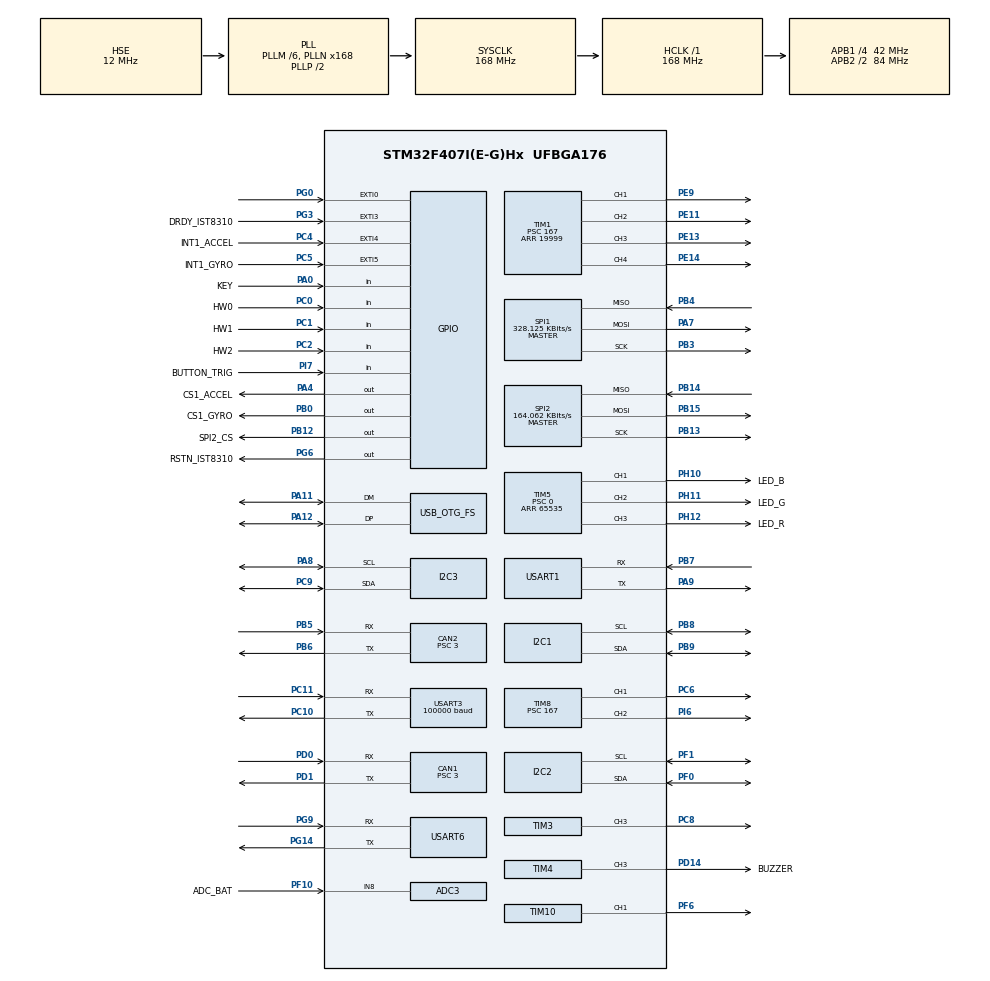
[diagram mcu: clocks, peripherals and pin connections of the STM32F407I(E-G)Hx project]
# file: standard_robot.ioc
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ADC1.Channel-0\#ChannelRegularConversion=ADC_CHANNEL_TEMPSENSOR
ADC1.ClockPrescaler=ADC_CLOCK_SYNC_PCLK_DIV6
ADC1.NbrOfConversionFlag=1
ADC1.Rank-0\#ChannelRegularConversion=1
ADC1.SamplingTime-0\#ChannelRegularConversion=ADC_SAMPLETIME_3CYCLES
ADC1.master=1
ADC3.Channel-0\#ChannelRegularConversion=ADC_CHANNEL_8
ADC3.ClockPrescaler=ADC_CLOCK_SYNC_PCLK_DIV6
ADC3.NbrOfConversionFlag=1
ADC3.Rank-0\#ChannelRegularConversion=1
ADC3.SamplingTime-0\#ChannelRegularConversion=ADC_SAMPLETIME_3CYCLES
CAN1.BS1=CAN_BS1_10TQ
CAN1.BS2=CAN_BS2_3TQ
CAN1.CalculateBaudRate=1000000
CAN1.CalculateTimeQuantum=71.42857142857143
CAN1.Prescaler=3
CAN2.BS1=CAN_BS1_10TQ
CAN2.BS2=CAN_BS2_3TQ
CAN2.CalculateBaudRate=1000000
CAN2.CalculateTimeQuantum=71.42857142857143
CAN2.Prescaler=3
Dma.I2C2_TX.2.Direction=DMA_MEMORY_TO_PERIPH
Dma.I2C2_TX.2.FIFOMode=DMA_FIFOMODE_DISABLE
Dma.I2C2_TX.2.Instance=DMA1_Stream7
Dma.I2C2_TX.2.MemDataAlignment=DMA_MDATAALIGN_BYTE
Dma.I2C2_TX.2.MemInc=DMA_MINC_ENABLE
Dma.I2C2_TX.2.Mode=DMA_NORMAL
Dma.I2C2_TX.2.PeriphDataAlignment=DMA_PDATAALIGN_BYTE
Dma.I2C2_TX.2.PeriphInc=DMA_PINC_DISABLE
Dma.I2C2_TX.2.Priority=DMA_PRIORITY_HIGH
Dma.Request0=SPI1_RX
Dma.Request1=SPI1_TX
Dma.Request2=I2C2_TX
Dma.Request3=USART3_RX
Dma.Request4=USART6_RX
Dma.Request5=USART6_TX
Dma.Request6=USART1_TX
Dma.SPI1_RX.0.Direction=DMA_PERIPH_TO_MEMORY
Dma.SPI1_RX.0.FIFOMode=DMA_FIFOMODE_DISABLE
Dma.SPI1_RX.0.Instance=DMA2_Stream2
Dma.SPI1_RX.0.MemDataAlignment=DMA_MDATAALIGN_BYTE
Dma.SPI1_RX.0.MemInc=DMA_MINC_ENABLE
Dma.SPI1_RX.0.Mode=DMA_NORMAL
Dma.SPI1_RX.0.PeriphDataAlignment=DMA_PDATAALIGN_BYTE
Dma.SPI1_RX.0.PeriphInc=DMA_PINC_DISABLE
Dma.SPI1_RX.0.Priority=DMA_PRIORITY_VERY_HIGH
Dma.SPI1_TX.1.Direction=DMA_MEMORY_TO_PERIPH
Dma.SPI1_TX.1.FIFOMode=DMA_FIFOMODE_DISABLE
Dma.SPI1_TX.1.Instance=DMA2_Stream3
Dma.SPI1_TX.1.MemDataAlignment=DMA_MDATAALIGN_BYTE
Dma.SPI1_TX.1.MemInc=DMA_MINC_ENABLE
Dma.SPI1_TX.1.Mode=DMA_NORMAL
Dma.SPI1_TX.1.PeriphDataAlignment=DMA_PDATAALIGN_BYTE
Dma.SPI1_TX.1.PeriphInc=DMA_PINC_DISABLE
Dma.SPI1_TX.1.Priority=DMA_PRIORITY_HIGH
Dma.USART1_TX.6.Direction=DMA_MEMORY_TO_PERIPH
Dma.USART1_TX.6.FIFOMode=DMA_FIFOMODE_DISABLE
Dma.USART1_TX.6.Instance=DMA2_Stream7
Dma.USART1_TX.6.MemDataAlignment=DMA_MDATAALIGN_BYTE
Dma.USART1_TX.6.MemInc=DMA_MINC_ENABLE
Dma.USART1_TX.6.Mode=DMA_NORMAL
Dma.USART1_TX.6.PeriphDataAlignment=DMA_PDATAALIGN_BYTE
Dma.USART1_TX.6.PeriphInc=DMA_PINC_DISABLE
Dma.USART1_TX.6.Priority=DMA_PRIORITY_MEDIUM
Dma.USART3_RX.3.Direction=DMA_PERIPH_TO_MEMORY
Dma.USART3_RX.3.FIFOMode=DMA_FIFOMODE_DISABLE
Dma.USART3_RX.3.Instance=DMA1_Stream1
Dma.USART3_RX.3.MemDataAlignment=DMA_MDATAALIGN_BYTE
Dma.USART3_RX.3.MemInc=DMA_MINC_ENABLE
Dma.USART3_RX.3.Mode=DMA_NORMAL
Dma.USART3_RX.3.PeriphDataAlignment=DMA_PDATAALIGN_BYTE
Dma.USART3_RX.3.PeriphInc=DMA_PINC_DISABLE
Dma.USART3_RX.3.Priority=DMA_PRIORITY_HIGH
Dma.USART6_RX.4.Direction=DMA_PERIPH_TO_MEMORY
Dma.USART6_RX.4.FIFOMode=DMA_FIFOMODE_DISABLE
Dma.USART6_RX.4.Instance=DMA2_Stream1
Dma.USART6_RX.4.MemDataAlignment=DMA_MDATAALIGN_BYTE
Dma.USART6_RX.4.MemInc=DMA_MINC_ENABLE
Dma.USART6_RX.4.Mode=DMA_NORMAL
Dma.USART6_RX.4.PeriphDataAlignment=DMA_PDATAALIGN_BYTE
Dma.USART6_RX.4.PeriphInc=DMA_PINC_DISABLE
Dma.USART6_RX.4.Priority=DMA_PRIORITY_HIGH
Dma.USART6_TX.5.Direction=DMA_MEMORY_TO_PERIPH
Dma.USART6_TX.5.FIFOMode=DMA_FIFOMODE_DISABLE
Dma.USART6_TX.5.Instance=DMA2_Stream6
Dma.USART6_TX.5.MemDataAlignment=DMA_MDATAALIGN_BYTE
Dma.USART6_TX.5.MemInc=DMA_MINC_ENABLE
Dma.USART6_TX.5.Mode=DMA_NORMAL
Dma.USART6_TX.5.PeriphDataAlignment=DMA_PDATAALIGN_BYTE
Dma.USART6_TX.5.PeriphInc=DMA_PINC_DISABLE
Dma.USART6_TX.5.Priority=DMA_PRIORITY_MEDIUM
FREERTOS.INCLUDE_eTaskGetState=1
FREERTOS.INCLUDE_pcTaskGetTaskName=1
FREERTOS.INCLUDE_uxTaskGetStackHighWaterMark=1
FREERTOS.INCLUDE_vTaskCleanUpResources=1
FREERTOS.INCLUDE_vTaskDelayUntil=1
FREERTOS.INCLUDE_xEventGroupSetBitFromISR=1
FREERTOS.INCLUDE_xQueueGetMutexHolder=1
FREERTOS.INCLUDE_xSemaphoreGetMutexHolder=1
FREERTOS.INCLUDE_xTaskAbortDelay=1
FREERTOS.INCLUDE_xTaskGetCurrentTaskHandle=1
FREERTOS.INCLUDE_xTaskGetHandle=1
FREERTOS.INCLUDE_xTimerPendFunctionCall=1
FREERTOS.Tasks01=test,24,128,test_task,As weak,NULL,Dynamic,NULL,NULL
FREERTOS.configTOTAL_HEAP_SIZE=24576
I2C1.I2C_Mode=I2C_Fast
I2C2.I2C_Mode=I2C_Fast
I2C3.I2C_Mode=I2C_Fast
Mcu.Family=STM32F4
Mcu.Name=STM32F407I(E-G)Hx
Mcu.Package=UFBGA176
NVIC.CAN1_RX0_IRQn=true\:6\:0\:true\:false\:true\:true\:true\:true\:true
NVIC.CAN2_RX0_IRQn=true\:6\:0\:true\:false\:true\:true\:true\:true\:true
NVIC.DMA1_Stream1_IRQn=true\:5\:0\:true\:false\:false\:true\:false\:false\:true
NVIC.DMA1_Stream7_IRQn=true\:5\:0\:true\:false\:false\:true\:false\:true\:true
NVIC.DMA2_Stream1_IRQn=true\:5\:0\:true\:false\:true\:true\:false\:true\:true
NVIC.DMA2_Stream2_IRQn=true\:5\:0\:true\:false\:false\:true\:false\:true\:true
NVIC.DMA2_Stream3_IRQn=true\:5\:0\:true\:false\:false\:true\:false\:true\:true
NVIC.DMA2_Stream6_IRQn=true\:5\:0\:true\:false\:true\:true\:false\:true\:true
NVIC.DMA2_Stream7_IRQn=true\:5\:0\:true\:false\:true\:true\:false\:true\:true
NVIC.EXTI0_IRQn=true\:6\:0\:true\:false\:true\:true\:true\:true\:true
NVIC.EXTI3_IRQn=true\:5\:0\:true\:false\:true\:true\:true\:true\:true
NVIC.EXTI4_IRQn=true\:5\:0\:true\:false\:true\:true\:true\:true\:true
NVIC.EXTI9_5_IRQn=true\:5\:0\:true\:false\:true\:true\:true\:true\:true
NVIC.OTG_FS_IRQn=true\:5\:0\:false\:false\:true\:true\:false\:true\:true
NVIC.PriorityGroup=NVIC_PRIORITYGROUP_4
NVIC.TIM7_IRQn=true\:15\:0\:false\:false\:true\:false\:false\:true\:true
NVIC.TimeBase=TIM7_IRQn
NVIC.TimeBaseIP=TIM7
NVIC.USART3_IRQn=true\:4\:0\:true\:false\:false\:false\:true\:true\:true
NVIC.USART6_IRQn=true\:5\:0\:true\:false\:false\:true\:true\:true\:true
PA0-WKUP.GPIO_Label=KEY
PA0-WKUP.GPIO_PuPd=GPIO_PULLUP
PA0-WKUP.Signal=GPIO_Input
PA11.Mode=Device_Only
PA11.Signal=USB_OTG_FS_DM
PA12.Mode=Device_Only
PA12.Signal=USB_OTG_FS_DP
PA13.Mode=Serial_Wire
PA13.Signal=SYS_JTMS-SWDIO
PA14.Mode=Serial_Wire
PA14.Signal=SYS_JTCK-SWCLK
PA4.GPIO_Label=CS1_ACCEL
PA4.GPIO_PuPd=GPIO_PULLUP
PA4.GPIO_Speed=GPIO_SPEED_FREQ_HIGH
PA4.PinState=GPIO_PIN_SET
PA4.Signal=GPIO_Output
PA7.GPIO_PuPd=GPIO_PULLUP
PA7.Mode=Full_Duplex_Master
PA7.Signal=SPI1_MOSI
PA8.GPIO_Pu=GPIO_PULLUP
PA8.Mode=I2C
PA8.Signal=I2C3_SCL
PA9.Mode=Asynchronous
PA9.Signal=USART1_TX
PB0.GPIO_Label=CS1_GYRO
PB0.GPIO_PuPd=GPIO_PULLUP
PB0.GPIO_Speed=GPIO_SPEED_FREQ_HIGH
PB0.PinState=GPIO_PIN_SET
PB0.Signal=GPIO_Output
PB12.GPIO_Label=SPI2_CS
PB12.GPIO_PuPd=GPIO_PULLUP
PB12.GPIO_Speed=GPIO_SPEED_FREQ_MEDIUM
PB12.PinState=GPIO_PIN_SET
PB12.Signal=GPIO_Output
PB13.GPIO_PuPd=GPIO_PULLUP
PB13.Mode=Full_Duplex_Master
PB13.Signal=SPI2_SCK
PB14.GPIO_PuPd=GPIO_PULLUP
PB14.Mode=Full_Duplex_Master
PB14.Signal=SPI2_MISO
PB15.GPIO_PuPd=GPIO_PULLUP
PB15.Mode=Full_Duplex_Master
PB15.Signal=SPI2_MOSI
PB3.GPIO_PuPd=GPIO_PULLUP
PB3.Mode=Full_Duplex_Master
PB3.Signal=SPI1_SCK
PB4.GPIO_PuPd=GPIO_PULLUP
PB4.Mode=Full_Duplex_Master
PB4.Signal=SPI1_MISO
PB5.Mode=CAN_Activate
PB5.Signal=CAN2_RX
PB6.Mode=CAN_Activate
PB6.Signal=CAN2_TX
PB7.Mode=Asynchronous
PB7.Signal=USART1_RX
PB8.GPIO_Pu=GPIO_PULLUP
PB8.Mode=I2C
PB8.Signal=I2C1_SCL
PB9.GPIO_Pu=GPIO_PULLUP
PB9.Mode=I2C
PB9.Signal=I2C1_SDA
PC0.GPIO_Label=HW0
PC0.Signal=GPIO_Input
PC1.GPIO_Label=HW1
PC1.Signal=GPIO_Input
PC10.Mode=Asynchronous
PC10.Signal=USART3_TX
PC11.Mode=Asynchronous
PC11.Signal=USART3_RX
PC2.GPIO_Label=HW2
PC2.Signal=GPIO_Input
PC4.GPIO_Label=INT1_ACCEL
PC4.GPIO_ModeDefaultEXTI=GPIO_MODE_IT_FALLING
PC4.GPIO_PuPd=GPIO_PULLUP
PC4.Signal=GPXTI4
PC5.GPIO_Label=INT1_GYRO
PC5.GPIO_ModeDefaultEXTI=GPIO_MODE_IT_FALLING
PC5.GPIO_PuPd=GPIO_PULLUP
PC5.Signal=GPXTI5
PC6.GPIO_PuPd=GPIO_PULLUP
PC6.GPIO_Speed=GPIO_SPEED_FREQ_HIGH
PC6.Signal=S_TIM8_CH1
PC8.GPIO_PuPd=GPIO_PULLUP
PC8.GPIO_Speed=GPIO_SPEED_FREQ_HIGH
PC8.Signal=S_TIM3_CH3
PC9.GPIO_Pu=GPIO_PULLUP
PC9.Mode=I2C
PC9.Signal=I2C3_SDA
PD0.Mode=CAN_Activate
PD0.Signal=CAN1_RX
PD1.Mode=CAN_Activate
PD1.Signal=CAN1_TX
PD14.GPIO_Label=BUZZER
PD14.GPIO_PuPd=GPIO_PULLUP
PD14.GPIO_Speed=GPIO_SPEED_FREQ_VERY_HIGH
PD14.Signal=S_TIM4_CH3
PE11.GPIO_PuPd=GPIO_PULLUP
PE11.GPIO_Speed=GPIO_SPEED_FREQ_HIGH
PE11.Signal=S_TIM1_CH2
PE13.GPIO_PuPd=GPIO_PULLUP
PE13.GPIO_Speed=GPIO_SPEED_FREQ_HIGH
PE13.Signal=S_TIM1_CH3
PE14.GPIO_PuPd=GPIO_PULLUP
PE14.GPIO_Speed=GPIO_SPEED_FREQ_HIGH
PE14.Signal=S_TIM1_CH4
PE9.GPIO_PuPd=GPIO_PULLUP
PE9.GPIO_Speed=GPIO_SPEED_FREQ_HIGH
PE9.Signal=S_TIM1_CH1
PF0.GPIO_Pu=GPIO_PULLUP
PF0.Mode=I2C
PF0.Signal=I2C2_SDA
PF1.GPIO_Pu=GPIO_PULLUP
PF1.Mode=I2C
PF1.Signal=I2C2_SCL
PF10.GPIO_Label=ADC_BAT
PF10.Mode=IN8
PF10.Signal=ADC3_IN8
PF6.GPIO_PuPd=GPIO_PULLUP
PF6.GPIO_Speed=GPIO_SPEED_FREQ_HIGH
PF6.Signal=S_TIM10_CH1
PG0.GPIO_ModeDefaultEXTI=GPIO_MODE_IT_FALLING
PG0.GPIO_PuPd=GPIO_PULLUP
PG0.Signal=GPXTI0
PG14.Mode=Asynchronous
PG14.Signal=USART6_TX
PG3.GPIO_Label=DRDY_IST8310
PG3.GPIO_ModeDefaultEXTI=GPIO_MODE_IT_FALLING
PG3.GPIO_PuPd=GPIO_PULLUP
PG3.Signal=GPXTI3
PG6.GPIO_Label=RSTN_IST8310
PG6.GPIO_PuPd=GPIO_PULLUP
PG6.GPIO_Speed=GPIO_SPEED_FREQ_MEDIUM
PG6.PinState=GPIO_PIN_SET
PG6.Signal=GPIO_Output
PG9.Mode=Asynchronous
PG9.Signal=USART6_RX
PH0-OSC_IN.Mode=HSE-External-Oscillator
PH0-OSC_IN.Signal=RCC_OSC_IN
PH1-OSC_OUT.Mode=HSE-External-Oscillator
PH1-OSC_OUT.Signal=RCC_OSC_OUT
PH10.GPIO_Label=LED_B
PH10.GPIO_PuPd=GPIO_PULLUP
PH10.GPIO_Speed=GPIO_SPEED_FREQ_HIGH
PH10.Signal=S_TIM5_CH1
PH11.GPIO_Label=LED_G
PH11.GPIO_PuPd=GPIO_PULLUP
PH11.GPIO_Speed=GPIO_SPEED_FREQ_HIGH
PH11.Signal=S_TIM5_CH2
PH12.GPIO_Label=LED_R
PH12.GPIO_PuPd=GPIO_PULLUP
PH12.GPIO_Speed=GPIO_SPEED_FREQ_HIGH
PH12.Signal=S_TIM5_CH3
PI6.GPIO_PuPd=GPIO_PULLUP
PI6.GPIO_Speed=GPIO_SPEED_FREQ_HIGH
PI6.Signal=S_TIM8_CH2
PI7.GPIO_Label=BUTTON_TRIG
PI7.GPIO_PuPd=GPIO_PULLUP
PI7.Signal=GPIO_Input
ProjectManager.HeapSize=0x2000
ProjectManager.StackSize=0x2000
ProjectManager.TargetToolchain=CMake
RCC.48MHZClocksFreq_Value=48000000
RCC.AHBFreq_Value=168000000
RCC.APB1CLKDivider=RCC_HCLK_DIV4
RCC.APB1Freq_Value=42000000
RCC.APB1TimFreq_Value=84000000
RCC.APB2CLKDivider=RCC_HCLK_DIV2
RCC.APB2Freq_Value=84000000
RCC.APB2TimFreq_Value=168000000
RCC.CortexFreq_Value=168000000
RCC.HCLKFreq_Value=168000000
RCC.HSE_VALUE=12000000
RCC.HSI_VALUE=16000000
RCC.LSE_VALUE=32768
RCC.PLLM=6
RCC.PLLN=168
RCC.PLLQ=7
RCC.RCC_RTC_Clock_SourceVirtual=RCC_RTCCLKSOURCE_HSE_DIV30
RCC.RCC_RTC_Clock_Source_FROM_HSE=RCC_RTCCLKSOURCE_HSE_DIV30
RCC.SYSCLKFreq_VALUE=168000000
RCC.SYSCLKSource=RCC_SYSCLKSOURCE_PLLCLK
RCC.VCOOutputFreq_Value=336000000
RTC.AsynchPrediv=124
RTC.SynchPrediv=3199
SH.S_TIM10_CH1.0=TIM10_CH1,PWM Generation1 CH1
SH.S_TIM1_CH1.0=TIM1_CH1,PWM Generation1 CH1
SH.S_TIM1_CH2.0=TIM1_CH2,PWM Generation2 CH2
SH.S_TIM1_CH3.0=TIM1_CH3,PWM Generation3 CH3
SH.S_TIM1_CH4.0=TIM1_CH4,PWM Generation4 CH4
SH.S_TIM3_CH3.0=TIM3_CH3,PWM Generation3 CH3
SH.S_TIM4_CH3.0=TIM4_CH3,PWM Generation3 CH3
SH.S_TIM5_CH1.0=TIM5_CH1,PWM Generation1 CH1
SH.S_TIM5_CH2.0=TIM5_CH2,PWM Generation2 CH2
SH.S_TIM5_CH3.0=TIM5_CH3,PWM Generation3 CH3
SH.S_TIM8_CH1.0=TIM8_CH1,PWM Generation1 CH1
SH.S_TIM8_CH2.0=TIM8_CH2,PWM Generation2 CH2
SPI1.BaudRatePrescaler=SPI_BAUDRATEPRESCALER_256
SPI1.CLKPhase=SPI_PHASE_2EDGE
SPI1.CLKPolarity=SPI_POLARITY_HIGH
SPI1.CalculateBaudRate=328.125 KBits/s
SPI1.Direction=SPI_DIRECTION_2LINES
SPI1.Mode=SPI_MODE_MASTER
SPI1.VirtualType=VM_MASTER
SPI2.BaudRatePrescaler=SPI_BAUDRATEPRESCALER_256
SPI2.CLKPhase=SPI_PHASE_2EDGE
SPI2.CLKPolarity=SPI_POLARITY_HIGH
SPI2.CalculateBaudRate=164.062 KBits/s
SPI2.Direction=SPI_DIRECTION_2LINES
SPI2.Mode=SPI_MODE_MASTER
SPI2.VirtualType=VM_MASTER
TIM1.Channel-PWM\ Generation1\ CH1=TIM_CHANNEL_1
TIM1.Channel-PWM\ Generation2\ CH2=TIM_CHANNEL_2
TIM1.Channel-PWM\ Generation3\ CH3=TIM_CHANNEL_3
TIM1.Channel-PWM\ Generation4\ CH4=TIM_CHANNEL_4
TIM1.Period=19999
TIM1.Prescaler=167
TIM1.Pulse-PWM\ Generation1\ CH1=1000
TIM1.Pulse-PWM\ Generation2\ CH2=1000
TIM1.Pulse-PWM\ Generation3\ CH3=1000
TIM1.Pulse-PWM\ Generation4\ CH4=1000
TIM10.Channel=TIM_CHANNEL_1
TIM10.Period=4999
TIM3.Channel-PWM\ Generation3\ CH3=TIM_CHANNEL_3
TIM3.Period=8399
TIM4.Channel-PWM\ Generation3\ CH3=TIM_CHANNEL_3
TIM4.Period=65535
TIM4.Prescaler=167
TIM5.Channel-PWM\ Generation1\ CH1=TIM_CHANNEL_1
TIM5.Channel-PWM\ Generation2\ CH2=TIM_CHANNEL_2
TIM5.Channel-PWM\ Generation3\ CH3=TIM_CHANNEL_3
TIM5.Period=65535
TIM5.Prescaler=0
TIM8.Channel-PWM\ Generation1\ CH1=TIM_CHANNEL_1
TIM8.Channel-PWM\ Generation2\ CH2=TIM_CHANNEL_2
TIM8.Period=19999
TIM8.Prescaler=167
TIM8.Pulse-PWM\ Generation1\ CH1=1000
TIM8.Pulse-PWM\ Generation2\ CH2=1000
USART1.VirtualMode=VM_ASYNC
USART3.BaudRate=100000
USART3.Parity=PARITY_EVEN
USART3.VirtualMode=VM_ASYNC
USART6.VirtualMode=VM_ASYNC
USB_DEVICE.CLASS_NAME_FS=CDC
USB_DEVICE.VirtualMode-CDC_FS=Cdc
USB_DEVICE.VirtualModeFS=Cdc_FS
USB_OTG_FS.VirtualMode=Device_Only
VP_ADC1_TempSens_Input.Mode=IN-TempSens
VP_ADC1_Vref_Input.Mode=IN-Vrefint
VP_CRC_VS_CRC.Mode=CRC_Activate
VP_FREERTOS_VS_CMSIS_V1.Mode=CMSIS_V1
VP_RNG_VS_RNG.Mode=RNG_Activate
VP_RTC_VS_RTC_Activate.Mode=RTC_Enabled
VP_SYS_VS_tim7.Mode=TIM7
VP_TIM10_VS_ClockSourceINT.Mode=Enable_Timer
VP_TIM1_VS_ClockSourceINT.Mode=Internal
VP_TIM3_VS_ClockSourceINT.Mode=Internal
VP_TIM4_VS_ClockSourceINT.Mode=Internal
VP_TIM5_VS_ClockSourceINT.Mode=Internal
VP_TIM8_VS_ClockSourceINT.Mode=Internal
VP_USB_DEVICE_VS_USB_DEVICE_CDC_FS.Mode=CDC_FS
board=custom

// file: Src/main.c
/* USER CODE BEGIN Header */
/**
  ******************************************************************************
  * @file           : main.c
  * @brief          : Main program body
  ******************************************************************************
  * @attention
  *
  * <h2><center>&copy; Copyright (c) 2019 STMicroelectronics.
  * All rights reserved.</center></h2>
  *
  * This software component is licensed by ST under Ultimate Liberty license
  * SLA0044, the "License"; You may not use this file except in compliance with
  * the License. You may obtain a copy of the License at:
  *                             www.st.com/SLA0044
  *
  ******************************************************************************
  */
/* USER CODE END Header */
#include "main.h"
#include "cmsis_os.h"
#include "adc.h"
#include "can.h"
#include "crc.h"
#include "dma.h"
#include "i2c.h"
#include "rng.h"
#include "rtc.h"
#include "spi.h"
#include "tim.h"
#include "usart.h"
#include "usb_device.h"
#include "gpio.h"

/* USER CODE BEGIN Includes */
#include "bsp_can.h"
#include "bsp_delay.h"
#include "bsp_usart.h"
#include "remote_control.h"

#include "calibrate_task.h"
#include "chassis_task.h"
#include "detect_task.h"
#include "gimbal_task.h"
#include "INS_task.h"
#include "led_flow_task.h"
#include "oled_task.h"
#include "referee_usart_task.h"
#include "usb_task.h"
#include "voltage_task.h"
/* USER CODE END Includes */

void SystemClock_Config(void);
void MX_FREERTOS_Init(void);

int main(void)
{

  /* MCU Configuration--------------------------------------------------------*/

  /* Reset of all peripherals, Initializes the Flash interface and the Systick. */
  HAL_Init();

  /* Configure the system clock */
  SystemClock_Config();

  /* Initialize all configured peripherals */
  MX_GPIO_Init();
  MX_DMA_Init();
  MX_ADC1_Init();
  MX_ADC3_Init();
  MX_CAN1_Init();
  MX_CAN2_Init();
  MX_I2C1_Init();
  MX_SPI1_Init();
  MX_TIM4_Init();
  MX_TIM5_Init();
  MX_USART3_UART_Init();
  MX_TIM8_Init();
  MX_CRC_Init();
  MX_RNG_Init();
  MX_I2C2_Init();
  MX_I2C3_Init();
  MX_RTC_Init();
  MX_SPI2_Init();
  MX_TIM1_Init();
  MX_TIM3_Init();
  MX_TIM10_Init();
  MX_USART1_UART_Init();
  MX_USART6_UART_Init();
  /* USER CODE BEGIN 2 */
//	MX_GPIO_KEY_Init();
    can_filter_init();
    delay_init();
    cali_param_init();
    remote_control_init();
    usart1_tx_dma_init();

	//can_cmd_chassis_super_cap_power(1000);
  /* USER CODE END 2 */

  /* Call init function for freertos objects (in cmsis_os2.c) */
  MX_FREERTOS_Init();

  /* Start scheduler */
  osKernelStart();

  /* We should never get here as control is now taken by the scheduler */

  /* Infinite loop */
  while (1)
  {

  }
}

void SystemClock_Config(void)
{
  RCC_OscInitTypeDef RCC_OscInitStruct = {0};
  RCC_ClkInitTypeDef RCC_ClkInitStruct = {0};

  /** Configure the main internal regulator output voltage
  */
  __HAL_RCC_PWR_CLK_ENABLE();
  __HAL_PWR_VOLTAGESCALING_CONFIG(PWR_REGULATOR_VOLTAGE_SCALE1);

  /** Initializes the RCC Oscillators according to the specified parameters
  * in the RCC_OscInitTypeDef structure.
  */
  RCC_OscInitStruct.OscillatorType = RCC_OSCILLATORTYPE_HSE;
  RCC_OscInitStruct.HSEState = RCC_HSE_ON;
  RCC_OscInitStruct.PLL.PLLState = RCC_PLL_ON;
  RCC_OscInitStruct.PLL.PLLSource = RCC_PLLSOURCE_HSE;
  RCC_OscInitStruct.PLL.PLLM = 6;
  RCC_OscInitStruct.PLL.PLLN = 168;
  RCC_OscInitStruct.PLL.PLLP = RCC_PLLP_DIV2;
  RCC_OscInitStruct.PLL.PLLQ = 7;
  if (HAL_RCC_OscConfig(&RCC_OscInitStruct) != HAL_OK)
  {
    Error_Handler();
  }

  /** Initializes the CPU, AHB and APB buses clocks
  */
  RCC_ClkInitStruct.ClockType = RCC_CLOCKTYPE_HCLK|RCC_CLOCKTYPE_SYSCLK
                              |RCC_CLOCKTYPE_PCLK1|RCC_CLOCKTYPE_PCLK2;
  RCC_ClkInitStruct.SYSCLKSource = RCC_SYSCLKSOURCE_PLLCLK;
  RCC_ClkInitStruct.AHBCLKDivider = RCC_SYSCLK_DIV1;
  RCC_ClkInitStruct.APB1CLKDivider = RCC_HCLK_DIV4;
  RCC_ClkInitStruct.APB2CLKDivider = RCC_HCLK_DIV2;

  if (HAL_RCC_ClockConfig(&RCC_ClkInitStruct, FLASH_LATENCY_5) != HAL_OK)
  {
    Error_Handler();
  }
}

void HAL_TIM_PeriodElapsedCallback(TIM_HandleTypeDef *htim)
{
  if (htim->Instance == TIM7) {
    HAL_IncTick();
  }
}

void Error_Handler(void)
{
}

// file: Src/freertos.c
/* USER CODE BEGIN Header */
/**
  ******************************************************************************
  * File Name          : freertos.c
  * Description        : Code for freertos applications
  ******************************************************************************
  * @attention
  *
  * <h2><center>&copy; Copyright (c) 2019 STMicroelectronics.
  * All rights reserved.</center></h2>
  *
  * This software component is licensed by ST under Ultimate Liberty license
  * SLA0044, the "License"; You may not use this file except in compliance with
  * the License. You may obtain a copy of the License at:
  *                             www.st.com/SLA0044
  *
  ******************************************************************************
  */
/* USER CODE END Header */

#include "FreeRTOS.h"
#include "task.h"
#include "main.h"
#include "cmsis_os.h"

/* USER CODE BEGIN Includes */

#include "calibrate_task.h"
#include "chassis_task.h"
#include "detect_task.h"
#include "gimbal_task.h"
#include "INS_task.h"
#include "led_flow_task.h"
#include "oled_task.h"
#include "referee_usart_task.h"
#include "usb_task.h"
#include "voltage_task.h"
#include "servo_task.h"

/* USER CODE END Includes */

/* USER CODE BEGIN PTD */

osThreadId calibrate_tast_handle;
osThreadId chassisTaskHandle;
osThreadId detect_handle;
osThreadId gimbalTaskHandle;
osThreadId imuTaskHandle;
osThreadId led_RGB_flow_handle;
osThreadId oled_handle;
osThreadId referee_usart_task_handle;
osThreadId usb_task_handle;
osThreadId battery_voltage_handle;
osThreadId servo_task_handle;
osThreadId ui_taxk_handle;
osThreadId ui_taxk2_handle;
osThreadId ui_taxk3_handle;
osThreadId ui_taxk4_handle;
/* USER CODE END PTD */

osThreadId testHandle;

void test_task(void const * argument);

extern void MX_USB_DEVICE_Init(void);
void MX_FREERTOS_Init(void); /* (MISRA C 2004 rule 8.1) */

/* GetIdleTaskMemory prototype (linked to static allocation support) */
void vApplicationGetIdleTaskMemory( StaticTask_t **ppxIdleTaskTCBBuffer, StackType_t **ppxIdleTaskStackBuffer, uint32_t *pulIdleTaskStackSize );

/* GetTimerTaskMemory prototype (linked to static allocation support) */
void vApplicationGetTimerTaskMemory( StaticTask_t **ppxTimerTaskTCBBuffer, StackType_t **ppxTimerTaskStackBuffer, uint32_t *pulTimerTaskStackSize );

/* USER CODE BEGIN GET_IDLE_TASK_MEMORY */
static StaticTask_t xIdleTaskTCBBuffer;
static StackType_t xIdleStack[configMINIMAL_STACK_SIZE];

void vApplicationGetIdleTaskMemory( StaticTask_t **ppxIdleTaskTCBBuffer, StackType_t **ppxIdleTaskStackBuffer, uint32_t *pulIdleTaskStackSize )
{
  *ppxIdleTaskTCBBuffer = &xIdleTaskTCBBuffer;
  *ppxIdleTaskStackBuffer = &xIdleStack[0];
  *pulIdleTaskStackSize = configMINIMAL_STACK_SIZE;
  /* place for user code */
}
/* USER CODE END GET_IDLE_TASK_MEMORY */

/* USER CODE BEGIN GET_TIMER_TASK_MEMORY */
static StaticTask_t xTimerTaskTCBBuffer;
static StackType_t xTimerStack[configTIMER_TASK_STACK_DEPTH];

void vApplicationGetTimerTaskMemory( StaticTask_t **ppxTimerTaskTCBBuffer, StackType_t **ppxTimerTaskStackBuffer, uint32_t *pulTimerTaskStackSize )
{
  *ppxTimerTaskTCBBuffer = &xTimerTaskTCBBuffer;
  *ppxTimerTaskStackBuffer = &xTimerStack[0];
  *pulTimerTaskStackSize = configTIMER_TASK_STACK_DEPTH;
  /* place for user code */
}
/* USER CODE END GET_TIMER_TASK_MEMORY */

void MX_FREERTOS_Init(void) {

  /* Create the thread(s) */
  /* definition and creation of test */
  osThreadDef(test, test_task, osPriorityNormal, 0, 128);
  testHandle = osThreadCreate(osThread(test), NULL);

  /* USER CODE BEGIN RTOS_THREADS */
  /* add threads, ... */
//    osThreadDef(cali, calibrate_task, osPriorityNormal, 0, 512);
//    calibrate_tast_handle = osThreadCreate(osThread(cali), NULL);

    osThreadDef(ChassisTask, chassis_task, osPriorityAboveNormal, 0, 512);
    chassisTaskHandle = osThreadCreate(osThread(ChassisTask), NULL);

//    osThreadDef(DETECT, detect_task, osPriorityNormal, 0, 256);
//    detect_handle = osThreadCreate(osThread(DETECT), NULL);

    osThreadDef(gimbalTask, gimbal_task, osPriorityHigh, 0, 512);
    gimbalTaskHandle = osThreadCreate(osThread(gimbalTask), NULL);

    osThreadDef(imuTask, INS_task, osPriorityRealtime, 0, 1024);
    imuTaskHandle = osThreadCreate(osThread(imuTask), NULL);

    osThreadDef(led, led_RGB_flow_task, osPriorityNormal, 0, 128);
    led_RGB_flow_handle = osThreadCreate(osThread(led), NULL);

//    osThreadDef(OLED, oled_task, osPriorityLow, 0, 256);
//    oled_handle = osThreadCreate(osThread(OLED), NULL);

    osThreadDef(REFEREE, referee_usart_task, osPriorityNormal, 0, 128);
    referee_usart_task_handle = osThreadCreate(osThread(REFEREE), NULL);
    //ui����
    osThreadDef(ui, referee_usart_ui_task, osPriorityNormal, 0, 256);
    ui_taxk_handle = osThreadCreate(osThread(ui), NULL);
    osThreadDef(ui2, referee_usart_ui2_task, osPriorityNormal, 0, 256);
    ui_taxk2_handle = osThreadCreate(osThread(ui2), NULL);
    osThreadDef(ui3, referee_usart_ui3_task, osPriorityNormal, 0, 256);
    ui_taxk3_handle = osThreadCreate(osThread(ui3), NULL);
    osThreadDef(ui4, referee_usart_ui4_task, osPriorityNormal, 0, 256);
    ui_taxk4_handle = osThreadCreate(osThread(ui4), NULL);

    osThreadDef(USBTask, usb_task, osPriorityNormal, 0, 128);
    usb_task_handle = osThreadCreate(osThread(USBTask), NULL);

    osThreadDef(BATTERY_VOLTAGE, battery_voltage_task, osPriorityNormal, 0, 128);
    battery_voltage_handle = osThreadCreate(osThread(BATTERY_VOLTAGE), NULL);

		/*Ӣ�۲���Ҫ���
    osThreadDef(SERVO, servo_task, osPriorityNormal, 0, 128);
    servo_task_handle = osThreadCreate(osThread(SERVO), NULL);
		*/

  /* USER CODE END RTOS_THREADS */

}

__weak void test_task(void const * argument)
{
  /* init code for USB_DEVICE */
  MX_USB_DEVICE_Init();
  for(;;)
  {
    osDelay(1);
  }
}
